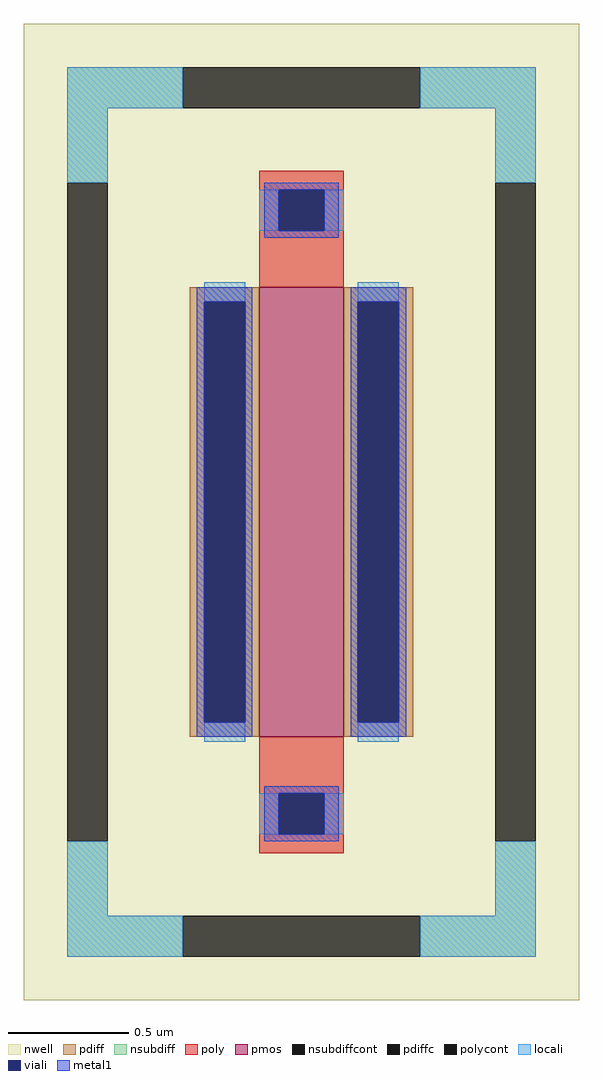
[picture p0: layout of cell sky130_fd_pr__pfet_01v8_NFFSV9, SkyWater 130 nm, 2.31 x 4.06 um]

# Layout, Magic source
magic
tech sky130A
magscale 1 2
<< nwell >>
rect -231 -406 231 406
<< pmos >>
rect -35 -187 35 187
<< pdiff >>
rect -93 175 -35 187
rect -93 -175 -81 175
rect -47 -175 -35 175
rect -93 -187 -35 -175
rect 35 175 93 187
rect 35 -175 47 175
rect 81 -175 93 175
rect 35 -187 93 -175
<< pdiffc >>
rect -81 -175 -47 175
rect 47 -175 81 175
<< nsubdiff >>
rect -195 336 -99 370
rect 99 336 195 370
rect -195 274 -161 336
rect 161 274 195 336
rect -195 -336 -161 -274
rect 161 -336 195 -274
rect -195 -370 -99 -336
rect 99 -370 195 -336
<< nsubdiffcont >>
rect -99 336 99 370
rect -195 -274 -161 274
rect 161 -274 195 274
rect -99 -370 99 -336
<< poly >>
rect -35 268 35 284
rect -35 234 -19 268
rect 19 234 35 268
rect -35 187 35 234
rect -35 -234 35 -187
rect -35 -268 -19 -234
rect 19 -268 35 -234
rect -35 -284 35 -268
<< polycont >>
rect -19 234 19 268
rect -19 -268 19 -234
<< locali >>
rect -195 336 -99 370
rect 99 336 195 370
rect -195 274 -161 336
rect 161 274 195 336
rect -35 234 -19 268
rect 19 234 35 268
rect -81 175 -47 191
rect -81 -191 -47 -175
rect 47 175 81 191
rect 47 -191 81 -175
rect -35 -268 -19 -234
rect 19 -268 35 -234
rect -195 -336 -161 -274
rect 161 -336 195 -274
rect -195 -370 -99 -336
rect 99 -370 195 -336
<< viali >>
rect -19 234 19 268
rect -81 -175 -47 175
rect 47 -175 81 175
rect -19 -268 19 -234
<< metal1 >>
rect -31 268 31 274
rect -31 234 -19 268
rect 19 234 31 268
rect -31 228 31 234
rect -87 175 -41 187
rect -87 -175 -81 175
rect -47 -175 -41 175
rect -87 -187 -41 -175
rect 41 175 87 187
rect 41 -175 47 175
rect 81 -175 87 175
rect 41 -187 87 -175
rect -31 -234 31 -228
rect -31 -268 -19 -234
rect 19 -268 31 -234
rect -31 -274 31 -268
<< properties >>
string FIXED_BBOX -178 -353 178 353
string gencell sky130_fd_pr__pfet_01v8
string library sky130
string parameters w 1.865 l 0.35 m 1 nf 1 diffcov 100 polycov 100 guard 1 glc 1 grc 1 gtc 1 gbc 1 tbcov 100 rlcov 100 topc 1 botc 1 poverlap 0 doverlap 1 lmin 0.15 wmin 0.42 compatible {sky130_fd_pr__pfet_01v8  sky130_fd_pr__pfet_01v8_lvt sky130_fd_pr__pfet_01v8_hvt  sky130_fd_pr__pfet_g5v0d10v5} full_metal 1 viasrc 100 viadrn 100 viagate 100 viagb 0 viagr 0 viagl 0 viagt 0
<< end >>
